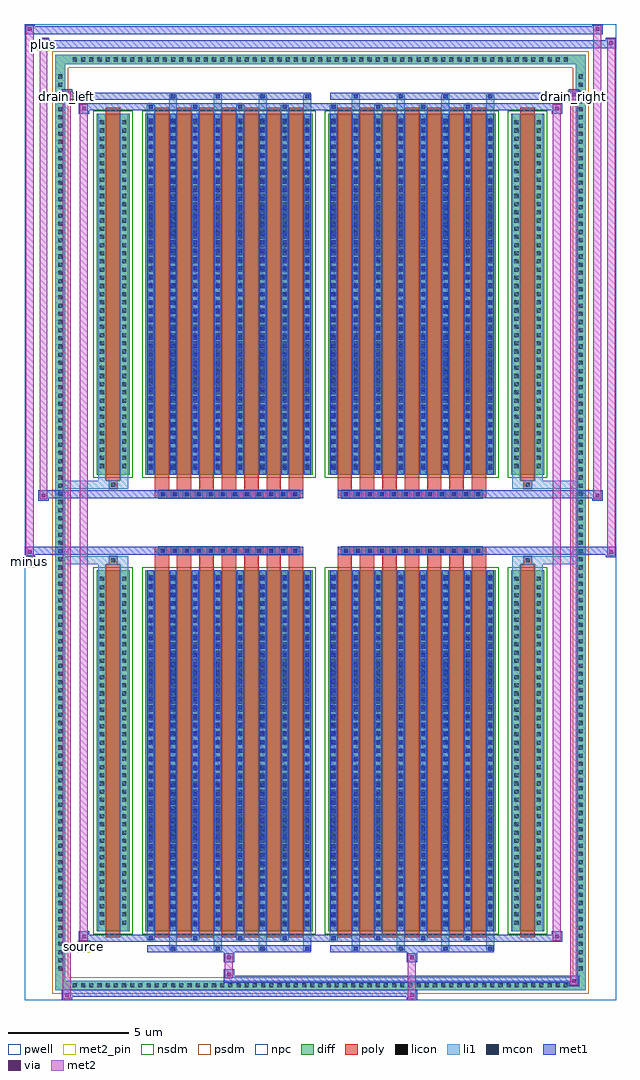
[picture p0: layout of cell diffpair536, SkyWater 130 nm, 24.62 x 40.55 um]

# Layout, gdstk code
import gdstk
lib = gdstk.Library(unit=1e-6, precision=5e-09)
def R(c, l, rs):  # rectangles x0, y0, x1, y1
    for r in rs: c.add(gdstk.rectangle(r[:2], r[2:], *l))
def A(c, l, x, y, w, h, nx, ny, dx, dy):  # array of equal rectangles
    R(c, l, [(x+i*dx, y+j*dy, x+i*dx+w, y+j*dy+h) for i in range(nx) for j in range(ny)])
def P(c, l, *ps):  # polygons
    for p in ps: c.add(gdstk.Polygon(p, *l))
pwell = (64, 44)
diff = (65, 20)
poly = (66, 20)
licon = (66, 44)
li1 = (67, 20)
mcon = (67, 44)
met1 = (68, 20)
via = (68, 44)
met2_pin = (69, 16)
met2 = (69, 20)
nsdm = (93, 44)
psdm = (94, 20)
npc = (95, 20)

diffpair536 = lib.new_cell('diffpair536')
R(diffpair536, pwell, [(-12.29,-19.84,12.29,20.71), (-9.61,-18.03,-0.01,-0.805), (0.01,-18.03,9.61,-0.805), (-9.61,0.805,-0.01,18.03), (0.01,0.805,9.61,18.03)])
A(diffpair536, diff, -10.405, -19.44, 0.41, 0.41, 61, 2, 0.34, 38.47)
A(diffpair536, diff, -11.02, -18.735, 0.41, 0.41, 1, 110, 0, 0.34)
A(diffpair536, diff, 10.61, -18.735, 0.41, 0.41, 1, 110, 0, 0.34)
R(diffpair536, diff, [(-10.405,-19.44,10.405,-19.03), (-11.02,-18.735,-10.61,18.735), (10.61,-18.735,11.02,18.735), (-9.3,-16.985,-7.92,-1.985), (-7.28,-16.985,-0.32,-1.985), (0.32,-16.985,7.28,-1.985), (7.92,-16.985,9.3,-1.985), (-9.3,1.985,-7.92,16.985), (-7.28,1.985,-0.32,16.985), (0.32,1.985,7.28,16.985), (7.92,1.985,9.3,16.985), (-10.405,19.03,10.405,19.44)])
P(diffpair536, diff, [(11.02,19.44),(-11.02,19.44),(-11.02,-19.03),(-10.61,-19.03),(-10.61,19.03),(10.61,19.03),(10.61,-19.03),(-10.61,-19.03),(-11.02,-19.03),(-11.02,-19.44),(11.02,-19.44)])
A(diffpair536, poly, -6.89, -17.235, 0.6, 15.5, 7, 2, 0.93, 18.97)
A(diffpair536, poly, 0.71, -17.235, 0.6, 15.5, 7, 2, 0.93, 18.97)
A(diffpair536, poly, -6.89, -1.735, 0.6, 0.4, 7, 2, 0.93, 3.07)
A(diffpair536, poly, 0.71, -1.735, 0.6, 0.4, 7, 2, 0.93, 3.07)
A(diffpair536, poly, -6.715, -1.335, 0.33, 0.33, 12, 2, 0.5, 2.34)
A(diffpair536, poly, 0.885, -1.335, 0.33, 0.33, 12, 2, 0.5, 2.34)
R(diffpair536, poly, [(-8.91,-17.235,-8.31,-1.735), (8.31,-17.235,8.91,-1.735), (-8.775,-1.735,-8.445,-1.405), (-8.775,-1.735,-8.445,-1.405), (8.445,-1.735,8.775,-1.405), (8.445,-1.735,8.775,-1.405), (-6.89,-1.335,-0.71,-1.005), (0.71,-1.335,6.89,-1.005), (-6.89,1.005,-0.71,1.335), (0.71,1.005,6.89,1.335), (-8.775,1.405,-8.445,1.735), (-8.775,1.405,-8.445,1.735), (8.445,1.405,8.775,1.735), (8.445,1.405,8.775,1.735), (-8.91,1.735,-8.31,17.235), (8.31,1.735,8.91,17.235)])
A(diffpair536, licon, -10.285, -19.32, 0.17, 0.17, 61, 2, 0.34, 38.47)
A(diffpair536, licon, -10.9, -18.615, 0.17, 0.17, 1, 110, 0, 0.34)
A(diffpair536, licon, 10.73, -18.615, 0.17, 0.17, 1, 110, 0, 0.34)
A(diffpair536, licon, -9.16, -16.71, 0.17, 0.17, 1, 43, 0, 0.34)
A(diffpair536, licon, -8.23, -16.71, 0.17, 0.17, 1, 43, 0, 0.34)
A(diffpair536, licon, -7.14, -16.71, 0.17, 0.17, 8, 43, 0.93, 0.34)
A(diffpair536, licon, 0.46, -16.71, 0.17, 0.17, 8, 43, 0.93, 0.34)
A(diffpair536, licon, 8.06, -16.71, 0.17, 0.17, 1, 43, 0, 0.34)
A(diffpair536, licon, 8.99, -16.71, 0.17, 0.17, 1, 43, 0, 0.34)
A(diffpair536, licon, -6.635, -1.255, 0.17, 0.17, 12, 2, 0.5, 2.34)
A(diffpair536, licon, 0.965, -1.255, 0.17, 0.17, 12, 2, 0.5, 2.34)
A(diffpair536, licon, -9.16, 2.26, 0.17, 0.17, 1, 43, 0, 0.34)
A(diffpair536, licon, -8.23, 2.26, 0.17, 0.17, 1, 43, 0, 0.34)
A(diffpair536, licon, -7.14, 2.26, 0.17, 0.17, 8, 43, 0.93, 0.34)
A(diffpair536, licon, 0.46, 2.26, 0.17, 0.17, 8, 43, 0.93, 0.34)
A(diffpair536, licon, 8.06, 2.26, 0.17, 0.17, 1, 43, 0, 0.34)
A(diffpair536, licon, 8.99, 2.26, 0.17, 0.17, 1, 43, 0, 0.34)
R(diffpair536, licon, [(-8.695,-1.655,-8.525,-1.485), (8.525,-1.655,8.695,-1.485), (-8.695,1.485,-8.525,1.655), (8.525,1.485,8.695,1.655)])
A(diffpair536, li1, -10.365, -19.4, 0.33, 0.33, 61, 2, 0.34, 38.47)
A(diffpair536, li1, -10.98, -18.695, 0.33, 0.33, 1, 110, 0, 0.34)
A(diffpair536, li1, 10.65, -18.695, 0.33, 0.33, 1, 110, 0, 0.34)
A(diffpair536, li1, -6.29, -17.79, 0.33, 0.805, 4, 2, 1.86, 34.775)
A(diffpair536, li1, -6.21, -17.79, 0.17, 0.17, 4, 2, 1.86, 35.41)
A(diffpair536, li1, 1.31, -17.79, 0.33, 0.805, 4, 2, 1.86, 34.775)
A(diffpair536, li1, 1.39, -17.79, 0.17, 0.17, 4, 2, 1.86, 35.41)
A(diffpair536, li1, -7.22, -17.36, 0.33, 0.375, 4, 2, 1.86, 34.345)
A(diffpair536, li1, -7.14, -17.36, 0.17, 0.17, 4, 2, 1.86, 34.55)
A(diffpair536, li1, 0.38, -17.36, 0.33, 0.375, 4, 2, 1.86, 34.345)
A(diffpair536, li1, 0.46, -17.36, 0.17, 0.17, 4, 2, 1.86, 34.55)
A(diffpair536, li1, -7.22, -16.985, 0.33, 15, 8, 2, 0.93, 18.97)
A(diffpair536, li1, 0.38, -16.985, 0.33, 15, 8, 2, 0.93, 18.97)
A(diffpair536, li1, -9.24, -16.79, 0.33, 0.33, 1, 43, 0, 0.34)
A(diffpair536, li1, -8.31, -16.79, 0.33, 0.33, 1, 43, 0, 0.34)
A(diffpair536, li1, -7.22, -16.79, 0.33, 0.33, 8, 43, 0.93, 0.34)
A(diffpair536, li1, 0.38, -16.79, 0.33, 0.33, 8, 43, 0.93, 0.34)
A(diffpair536, li1, 7.98, -16.79, 0.33, 0.33, 1, 43, 0, 0.34)
A(diffpair536, li1, 8.91, -16.79, 0.33, 0.33, 1, 43, 0, 0.34)
A(diffpair536, li1, -7.14, -16.77, 0.17, 0.17, 8, 41, 0.93, 0.36)
A(diffpair536, li1, -7.14, -16.77, 0.17, 14.57, 8, 2, 0.93, 18.97)
A(diffpair536, li1, 0.46, -16.77, 0.17, 0.17, 8, 41, 0.93, 0.36)
A(diffpair536, li1, 0.46, -16.77, 0.17, 14.57, 8, 2, 0.93, 18.97)
A(diffpair536, li1, -6.715, -1.335, 0.33, 0.33, 12, 2, 0.5, 2.34)
A(diffpair536, li1, 0.885, -1.335, 0.33, 0.33, 12, 2, 0.5, 2.34)
A(diffpair536, li1, -9.24, 2.18, 0.33, 0.33, 1, 43, 0, 0.34)
A(diffpair536, li1, -8.31, 2.18, 0.33, 0.33, 1, 43, 0, 0.34)
A(diffpair536, li1, -7.22, 2.18, 0.33, 0.33, 8, 43, 0.93, 0.34)
A(diffpair536, li1, 0.38, 2.18, 0.33, 0.33, 8, 43, 0.93, 0.34)
A(diffpair536, li1, 7.98, 2.18, 0.33, 0.33, 1, 43, 0, 0.34)
A(diffpair536, li1, 8.91, 2.18, 0.33, 0.33, 1, 43, 0, 0.34)
A(diffpair536, li1, -7.14, 2.2, 0.17, 0.17, 8, 41, 0.93, 0.36)
A(diffpair536, li1, 0.46, 2.2, 0.17, 0.17, 8, 41, 0.93, 0.36)
R(diffpair536, li1, [(-11.02,-19.44,-10.61,-19.03), (-11.02,-19.44,-10.61,-19.03), (-10.61,-19.44,10.61,-19.03), (10.61,-19.44,11.02,-19.03), (10.61,-19.44,11.02,-19.03), (-11.02,-19.03,-10.61,19.03), (10.61,-19.03,11.02,19.03), (-9.24,-16.985,-8.91,-1.985), (-8.31,-16.985,-7.98,-1.985), (7.98,-16.985,8.31,-1.985), (8.91,-16.985,9.24,-1.985), (-9.24,-1.985,-8.91,-1.405), (-8.31,-1.985,-7.98,-1.405), (7.98,-1.985,8.31,-1.405), (8.91,-1.985,9.24,-1.405), (-11.02,-1.735,-8.775,-1.405), (-9.24,-1.735,-8.775,-1.405), (-8.775,-1.735,-8.445,-1.405), (-8.445,-1.735,-7.98,-1.405), (7.98,-1.735,8.445,-1.405), (8.445,-1.735,8.775,-1.405), (8.445,-1.735,11.02,-1.405), (8.775,-1.735,9.24,-1.405), (-11.02,1.405,-8.775,1.735), (-9.24,1.405,-8.775,1.735), (-9.24,1.405,-8.91,1.985), (-8.775,1.405,-8.445,1.735), (-8.445,1.405,-7.98,1.735), (-8.31,1.405,-7.98,1.985), (7.98,1.405,8.445,1.735), (7.98,1.405,8.31,1.985), (8.445,1.405,8.775,1.735), (8.445,1.405,11.02,1.735), (8.775,1.405,9.24,1.735), (8.91,1.405,9.24,1.985), (-9.24,1.985,-8.91,16.985), (-8.31,1.985,-7.98,16.985), (7.98,1.985,8.31,16.985), (8.91,1.985,9.24,16.985), (-11.02,19.03,-10.61,19.44), (-11.02,19.03,-10.61,19.44), (-10.61,19.03,10.61,19.44), (10.61,19.03,11.02,19.44), (10.61,19.03,11.02,19.44)])
A(diffpair536, mcon, -6.21, -17.79, 0.17, 0.17, 4, 2, 1.86, 35.41)
A(diffpair536, mcon, 1.39, -17.79, 0.17, 0.17, 4, 2, 1.86, 35.41)
A(diffpair536, mcon, -7.14, -17.36, 0.17, 0.17, 4, 2, 1.86, 34.55)
A(diffpair536, mcon, 0.46, -17.36, 0.17, 0.17, 4, 2, 1.86, 34.55)
A(diffpair536, mcon, -7.14, -16.77, 0.17, 0.17, 8, 41, 0.93, 0.36)
A(diffpair536, mcon, 0.46, -16.77, 0.17, 0.17, 8, 41, 0.93, 0.36)
A(diffpair536, mcon, -6.635, -1.255, 0.17, 0.17, 12, 2, 0.5, 2.34)
A(diffpair536, mcon, 0.965, -1.255, 0.17, 0.17, 12, 2, 0.5, 2.34)
A(diffpair536, mcon, -7.14, 2.2, 0.17, 0.17, 8, 41, 0.93, 0.36)
A(diffpair536, mcon, 0.46, 2.2, 0.17, 0.17, 8, 41, 0.93, 0.36)
A(diffpair536, met1, -6.27, -17.85, 0.29, 0.29, 4, 2, 1.86, 35.41)
A(diffpair536, met1, 1.33, -17.85, 0.29, 0.29, 4, 2, 1.86, 35.41)
A(diffpair536, met1, -7.2, -17.42, 0.29, 0.29, 4, 2, 1.86, 34.55)
A(diffpair536, met1, 0.4, -17.42, 0.29, 0.29, 4, 2, 1.86, 34.55)
A(diffpair536, met1, -7.2, -16.985, 0.29, 15, 8, 2, 0.93, 18.97)
A(diffpair536, met1, 0.4, -16.985, 0.29, 15, 8, 2, 0.93, 18.97)
A(diffpair536, met1, -7.2, -16.83, 0.29, 0.29, 8, 41, 0.93, 0.36)
A(diffpair536, met1, 0.4, -16.83, 0.29, 0.29, 8, 41, 0.93, 0.36)
A(diffpair536, met1, -6.695, -1.315, 0.29, 0.29, 12, 2, 0.5, 2.34)
A(diffpair536, met1, 0.905, -1.315, 0.29, 0.29, 12, 2, 0.5, 2.34)
A(diffpair536, met1, -7.2, 2.14, 0.29, 0.29, 8, 41, 0.93, 0.36)
A(diffpair536, met1, 0.4, 2.14, 0.29, 0.29, 8, 41, 0.93, 0.36)
R(diffpair536, met1, [(-10.75,-19.84,-10.32,-19.41), (3.585,-19.84,4.015,-19.41), (-10.75,-19.7,4.015,-19.41), (10.32,-19.27,10.75,-18.84), (-4.015,-19.13,10.75,-18.84), (-4.015,-18.99,-3.585,-18.56), (-4.015,-18.28,-3.585,-17.85), (3.585,-18.28,4.015,-17.85), (-7.2,-17.85,-0.4,-17.56), (0.4,-17.85,7.2,-17.56), (-10.04,-17.42,-9.61,-16.99), (-10.04,-17.42,-7.2,-17.13), (-7.2,-17.42,-0.4,-17.13), (-0.4,-17.42,0.4,-17.13), (0.4,-17.42,7.2,-17.13), (7.2,-17.42,10.04,-17.13), (9.61,-17.42,10.04,-16.99), (-12.29,-1.435,-11.86,-1.005), (11.86,-1.435,12.29,-1.005), (-12.29,-1.335,-0.71,-1.005), (-6.89,-1.335,-0.71,-1.005), (0.71,-1.335,6.89,-1.005), (0.71,-1.335,12.29,-1.005), (-11.72,0.905,-11.29,1.335), (11.29,0.905,11.72,1.335), (-11.72,1.005,-6.89,1.335), (-6.89,1.005,-0.71,1.335), (0.71,1.005,6.89,1.335), (6.89,1.005,11.72,1.335), (-10.04,16.99,-9.61,17.42), (9.61,16.99,10.04,17.42), (-10.04,17.13,-7.2,17.42), (-7.2,17.13,-0.4,17.42), (-0.4,17.13,0.4,17.42), (0.4,17.13,7.2,17.42), (7.2,17.13,10.04,17.42), (-10.75,17.56,-10.32,17.99), (-10.75,17.56,-7.2,17.85), (-7.2,17.56,-0.4,17.85), (0.4,17.56,7.2,17.85), (7.2,17.56,10.75,17.85), (10.32,17.56,10.75,17.99), (-11.72,19.71,-11.29,20.14), (-11.72,19.71,-9.61,20.04), (-9.61,19.71,9.61,20.04), (9.61,19.71,12.29,20.04), (11.86,19.71,12.29,20.14), (-12.29,20.28,-11.86,20.71), (-12.29,20.28,-9.61,20.61), (-9.61,20.28,9.61,20.61), (9.61,20.28,11.72,20.61), (11.29,20.28,11.72,20.71)])
R(diffpair536, via, [(-10.61,-19.7,-10.46,-19.55), (3.725,-19.7,3.875,-19.55), (10.46,-19.13,10.61,-18.98), (-3.875,-18.85,-3.725,-18.7), (-3.875,-18.14,-3.725,-17.99), (3.725,-18.14,3.875,-17.99), (-9.9,-17.28,-9.75,-17.13), (9.75,-17.28,9.9,-17.13), (-12.15,-1.295,-12,-1.145), (12,-1.295,12.15,-1.145), (-11.58,1.045,-11.43,1.195), (11.43,1.045,11.58,1.195), (-9.9,17.13,-9.75,17.28), (9.75,17.13,9.9,17.28), (-10.61,17.7,-10.46,17.85), (10.46,17.7,10.61,17.85), (-11.58,19.85,-11.43,20), (12,19.85,12.15,20), (-12.15,20.42,-12,20.57), (11.43,20.42,11.58,20.57)])
R(diffpair536, met2_pin, [(-10.075,-17.87,-9.575,-17.37), (-12.325,-1.885,-11.825,-1.385), (-10.785,17.44,-10.285,17.94), (10.285,17.44,10.785,17.94), (-11.755,19.59,-11.255,20.09)])
R(diffpair536, met2, [(-10.7,-19.79,-10.37,-19.46), (-10.7,-19.79,-10.37,17.94), (3.635,-19.79,3.965,-19.46), (3.635,-19.46,3.965,-18.23), (10.37,-19.22,10.7,-18.89), (10.37,-19.22,10.7,17.94), (-3.965,-18.94,-3.635,-18.61), (-3.965,-18.61,-3.635,-18.23), (-3.965,-18.23,-3.635,-17.9), (3.635,-18.23,3.965,-17.9), (-9.99,-17.37,-9.66,-17.04), (-9.99,-17.37,-9.66,17.37), (9.66,-17.37,9.99,-17.04), (9.66,-17.37,9.99,17.37), (-12.24,-1.385,-11.91,-1.055), (-12.24,-1.385,-11.91,20.66), (11.91,-1.385,12.24,-1.055), (11.91,-1.385,12.24,20.09), (-11.67,0.955,-11.34,1.285), (-11.67,0.955,-11.34,20.09), (11.34,0.955,11.67,1.285), (11.34,0.955,11.67,20.66), (-9.99,17.04,-9.66,17.37), (9.66,17.04,9.99,17.37), (-10.7,17.61,-10.37,17.94), (10.37,17.61,10.7,17.94), (-11.67,19.76,-11.34,20.09), (11.91,19.76,12.24,20.09), (-12.24,20.33,-11.91,20.66), (11.34,20.33,11.67,20.66)])
P(diffpair536, met2, [(12.24,-1.385),(12.24,-1.385),(12.24,-1.055),(12.24,-1.055)],
  [(12.24,19.76),(12.24,19.76),(12.24,20.09),(12.24,20.09)],
  [(-11.91,-1.385),(-11.91,-1.385),(-11.91,-1.055),(-11.91,-1.055)],
  [(-11.91,20.33),(-11.91,20.33),(-11.91,20.66),(-11.91,20.66)],
  [(11.67,0.955),(11.67,0.955),(11.67,1.285),(11.67,1.285)],
  [(11.67,20.33),(11.67,20.33),(11.67,20.66),(11.67,20.66)],
  [(-11.34,0.955),(-11.34,0.955),(-11.34,1.285),(-11.34,1.285)],
  [(-11.34,19.76),(-11.34,19.76),(-11.34,20.09),(-11.34,20.09)],
  [(-10.37,-19.79),(-10.37,-19.79),(-10.37,-19.46),(-10.37,-19.46)],
  [(-10.37,17.61),(-10.37,17.61),(-10.37,17.94),(-10.37,17.94)],
  [(10.7,-19.22),(10.7,-19.22),(10.7,-18.89),(10.7,-18.89)],
  [(10.7,17.61),(10.7,17.61),(10.7,17.94),(10.7,17.94)],
  [(-9.66,-17.37),(-9.66,-17.37),(-9.66,-17.04),(-9.66,-17.04)],
  [(-9.66,17.04),(-9.66,17.04),(-9.66,17.37),(-9.66,17.37)],
  [(9.99,-17.37),(9.99,-17.37),(9.99,-17.04),(9.99,-17.04)],
  [(9.99,17.04),(9.99,17.04),(9.99,17.37),(9.99,17.37)])
R(diffpair536, nsdm, [(-9.43,-17.115,-7.79,-1.855), (-7.41,-17.115,-0.19,-1.855), (0.19,-17.115,7.41,-1.855), (7.79,-17.115,9.43,-1.855), (-9.43,1.855,-7.79,17.115), (-7.41,1.855,-0.19,17.115), (0.19,1.855,7.41,17.115), (7.79,1.855,9.43,17.115)])
P(diffpair536, psdm, [(11.15,19.57),(-11.15,19.57),(-11.15,-18.9),(-10.48,-18.9),(-10.48,18.9),(10.48,18.9),(10.48,-18.9),(-10.48,-18.9),(-11.15,-18.9),(-11.15,-19.57),(11.15,-19.57)])
A(diffpair536, npc, -6.735, -1.355, 0.37, 0.37, 12, 2, 0.5, 2.34)
A(diffpair536, npc, 0.865, -1.355, 0.37, 0.37, 12, 2, 0.5, 2.34)
R(diffpair536, npc, [(-8.795,-1.755,-8.425,-1.385), (8.425,-1.755,8.795,-1.385), (-6.735,-1.355,-5.865,-0.985), (-6.735,-1.355,-5.865,-0.985), (-6.235,-1.355,-5.365,-0.985), (-6.235,-1.355,-5.365,-0.985), (-5.735,-1.355,-4.865,-0.985), (-5.735,-1.355,-4.865,-0.985), (-5.235,-1.355,-4.365,-0.985), (-5.235,-1.355,-4.365,-0.985), (-4.735,-1.355,-3.865,-0.985), (-4.735,-1.355,-3.865,-0.985), (-4.235,-1.355,-3.365,-0.985), (-4.235,-1.355,-3.365,-0.985), (-3.735,-1.355,-2.865,-0.985), (-3.735,-1.355,-2.865,-0.985), (-3.235,-1.355,-2.365,-0.985), (-3.235,-1.355,-2.365,-0.985), (-2.735,-1.355,-1.865,-0.985), (-2.735,-1.355,-1.865,-0.985), (-2.235,-1.355,-1.365,-0.985), (-2.235,-1.355,-1.365,-0.985), (-1.735,-1.355,-0.865,-0.985), (-1.735,-1.355,-0.865,-0.985), (0.865,-1.355,1.735,-0.985), (0.865,-1.355,1.735,-0.985), (1.365,-1.355,2.235,-0.985), (1.365,-1.355,2.235,-0.985), (1.865,-1.355,2.735,-0.985), (1.865,-1.355,2.735,-0.985), (2.365,-1.355,3.235,-0.985), (2.365,-1.355,3.235,-0.985), (2.865,-1.355,3.735,-0.985), (2.865,-1.355,3.735,-0.985), (3.365,-1.355,4.235,-0.985), (3.365,-1.355,4.235,-0.985), (3.865,-1.355,4.735,-0.985), (3.865,-1.355,4.735,-0.985), (4.365,-1.355,5.235,-0.985), (4.365,-1.355,5.235,-0.985), (4.865,-1.355,5.735,-0.985), (4.865,-1.355,5.735,-0.985), (5.365,-1.355,6.235,-0.985), (5.365,-1.355,6.235,-0.985), (5.865,-1.355,6.735,-0.985), (5.865,-1.355,6.735,-0.985), (-6.735,0.985,-5.865,1.355), (-6.735,0.985,-5.865,1.355), (-6.235,0.985,-5.365,1.355), (-6.235,0.985,-5.365,1.355), (-5.735,0.985,-4.865,1.355), (-5.735,0.985,-4.865,1.355), (-5.235,0.985,-4.365,1.355), (-5.235,0.985,-4.365,1.355), (-4.735,0.985,-3.865,1.355), (-4.735,0.985,-3.865,1.355), (-4.235,0.985,-3.365,1.355), (-4.235,0.985,-3.365,1.355), (-3.735,0.985,-2.865,1.355), (-3.735,0.985,-2.865,1.355), (-3.235,0.985,-2.365,1.355), (-3.235,0.985,-2.365,1.355), (-2.735,0.985,-1.865,1.355), (-2.735,0.985,-1.865,1.355), (-2.235,0.985,-1.365,1.355), (-2.235,0.985,-1.365,1.355), (-1.735,0.985,-0.865,1.355), (-1.735,0.985,-0.865,1.355), (0.865,0.985,1.735,1.355), (0.865,0.985,1.735,1.355), (1.365,0.985,2.235,1.355), (1.365,0.985,2.235,1.355), (1.865,0.985,2.735,1.355), (1.865,0.985,2.735,1.355), (2.365,0.985,3.235,1.355), (2.365,0.985,3.235,1.355), (2.865,0.985,3.735,1.355), (2.865,0.985,3.735,1.355), (3.365,0.985,4.235,1.355), (3.365,0.985,4.235,1.355), (3.865,0.985,4.735,1.355), (3.865,0.985,4.735,1.355), (4.365,0.985,5.235,1.355), (4.365,0.985,5.235,1.355), (4.865,0.985,5.735,1.355), (4.865,0.985,5.735,1.355), (5.365,0.985,6.235,1.355), (5.365,0.985,6.235,1.355), (5.865,0.985,6.735,1.355), (5.865,0.985,6.735,1.355), (-8.795,1.385,-8.425,1.755), (8.425,1.385,8.795,1.755)])
diffpair536.add(gdstk.Label('minus', (-12.075,-1.635), layer=69, texttype=5))
diffpair536.add(gdstk.Label('drain_right', (10.535,17.69), layer=69, texttype=5))
diffpair536.add(gdstk.Label('drain_left', (-10.535,17.69), layer=69, texttype=5))
diffpair536.add(gdstk.Label('source', (-9.825,-17.62), layer=69, texttype=5))
diffpair536.add(gdstk.Label('plus', (-11.505,19.84), layer=69, texttype=5))

lib.write_gds('diffpair536.gds')
